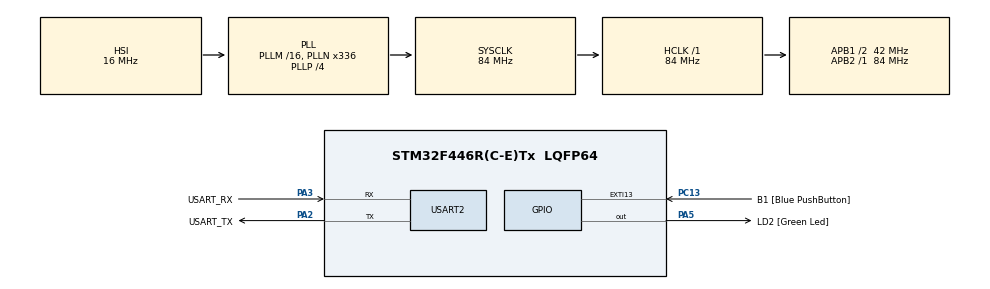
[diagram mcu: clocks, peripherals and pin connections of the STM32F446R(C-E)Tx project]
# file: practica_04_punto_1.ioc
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Mcu.Family=STM32F4
Mcu.Name=STM32F446R(C-E)Tx
Mcu.Package=LQFP64
NVIC.PriorityGroup=NVIC_PRIORITYGROUP_0
PA13.GPIO_Label=TMS
PA13.Mode=Serial_Wire
PA13.Signal=SYS_JTMS-SWDIO
PA14.GPIO_Label=TCK
PA14.Mode=Serial_Wire
PA14.Signal=SYS_JTCK-SWCLK
PA2.GPIO_Label=USART_TX
PA2.Mode=Asynchronous
PA2.Signal=USART2_TX
PA3.GPIO_Label=USART_RX
PA3.Mode=Asynchronous
PA3.Signal=USART2_RX
PA5.GPIO_Label=LD2 [Green Led]
PA5.Signal=GPIO_Output
PB3.GPIO_Label=SWO
PB3.Signal=SYS_JTDO-SWO
PC13.GPIO_Label=B1 [Blue PushButton]
PC13.GPIO_ModeDefaultEXTI=GPIO_MODE_IT_FALLING
PC13.Signal=GPXTI13
PC14-OSC32_IN.Mode=LSE-External-Oscillator
PC14-OSC32_IN.Signal=RCC_OSC32_IN
PC15-OSC32_OUT.Mode=LSE-External-Oscillator
PC15-OSC32_OUT.Signal=RCC_OSC32_OUT
PH0-OSC_IN.Mode=HSE-External-Oscillator
PH0-OSC_IN.Signal=RCC_OSC_IN
PH1-OSC_OUT.Mode=HSE-External-Oscillator
PH1-OSC_OUT.Signal=RCC_OSC_OUT
ProjectManager.HeapSize=0x200
ProjectManager.StackSize=0x400
ProjectManager.TargetToolchain=STM32CubeIDE
RCC.48MHZClocksFreq_Value=84000000
RCC.AHBFreq_Value=84000000
RCC.APB1CLKDivider=RCC_HCLK_DIV2
RCC.APB1Freq_Value=42000000
RCC.APB1TimFreq_Value=84000000
RCC.APB2Freq_Value=84000000
RCC.APB2TimFreq_Value=84000000
RCC.CortexFreq_Value=84000000
RCC.FLatency-AdvancedSettings=FLASH_LATENCY_2
RCC.HCLKFreq_Value=84000000
RCC.HSE_VALUE=8000000
RCC.HSI_VALUE=16000000
RCC.PLLN=336
RCC.PLLP=RCC_PLLP_DIV4
RCC.SYSCLKFreq_VALUE=84000000
RCC.SYSCLKSource=RCC_SYSCLKSOURCE_PLLCLK
RCC.USBFreq_Value=168000000
RCC.VCOOutputFreq_Value=336000000
USART2.VirtualMode=VM_ASYNC
board=NUCLEO-F446RE

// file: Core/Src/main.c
/* USER CODE BEGIN Header */
/**
  ******************************************************************************
  * @file           : main.c
  * @brief          : Main program body
  ******************************************************************************
  * @attention
  *
  * Copyright (c) 2025 STMicroelectronics.
  * All rights reserved.
  *
  * This software is licensed under terms that can be found in the LICENSE file
  * in the root directory of this software component.
  * If no LICENSE file comes with this software, it is provided AS-IS.
  *
  ******************************************************************************
  */
/* USER CODE END Header */
#include "main.h"
#include "API_delay.h"

/* USER CODE BEGIN PD */
#define MEDIOSEG		500
#define CIENMILISEG		100
#define CUARENTAMILISEG	40
#define UNSEG			1000
#define INICIO			0
#define PRIMERO			1
#define SEGUNDO			2
#define TERCERO			3
#define CINCOSEG		5000
#define TRESSEG			3000
#define CICLO			10
#define DEBOUNCETIME	4

/* USER CODE END PD */

UART_HandleTypeDef huart2;

void SystemClock_Config(void);
static void MX_GPIO_Init(void);
static void MX_USART2_UART_Init(void);

/* USER CODE BEGIN PFP */
void debounceFSM_init();		// debe cargar el estado inicial
void debounceFSM_update();		// debe leer las entradas, resolver la lógica de transición de estados y actualizar las salidas
void buttonPressed();			// debe encender el LED
void buttonReleased();			// debe apagar el LED

typedef enum{
 BUTTON_UP,
 BUTTON_FALLING,
 BUTTON_DOWN,
 BUTTON_RAISING,
 } debounceState_t;

 debounceState_t myEstado_t;

 entero32 K =INICIO;

 const tick_t TIEMPOS[] = {MEDIOSEG,CIENMILISEG,CIENMILISEG,UNSEG,CUARENTAMILISEG};

delay_t myDelay;

/* USER CODE END PFP */

int main(void)
{

  /* MCU Configuration--------------------------------------------------------*/

  /* Reset of all peripherals, Initializes the Flash interface and the Systick. */
  HAL_Init();

  /* Configure the system clock */
  SystemClock_Config();

  /* Initialize all configured peripherals */
  MX_GPIO_Init();
  MX_USART2_UART_Init();

  /* Infinite loop */

  myDelay.startTime=INICIO;
  myDelay.duration=CIENMILISEG;
  myDelay.running=false;

  delayInit(&myDelay, TIEMPOS[DEBOUNCETIME]);

//*****************************************************************************************************************
//*************     PUNTO 1 de la Practica 4		*******************************************************************

  HAL_GPIO_WritePin(LD2_GPIO_Port, LD2_Pin, SET);
  HAL_Delay(TRESSEG);

  //INICIALIZAMOS EL ESTADO

  //debounceFSM_init();

  //CREAMOS UNA SECUENCIA DE PULSACIONES RAPIDAS PARA INDICAR QUE SE INICIALIZO

  HAL_GPIO_WritePin(LD2_GPIO_Port, LD2_Pin, RESET);
  HAL_Delay(CIENMILISEG);
  HAL_GPIO_WritePin(LD2_GPIO_Port, LD2_Pin, SET);
  HAL_Delay(CIENMILISEG);
  HAL_GPIO_WritePin(LD2_GPIO_Port, LD2_Pin, RESET);
  HAL_Delay(CIENMILISEG);
  HAL_GPIO_WritePin(LD2_GPIO_Port, LD2_Pin, SET);
  HAL_Delay(CIENMILISEG);
  HAL_GPIO_WritePin(LD2_GPIO_Port, LD2_Pin, RESET);
  HAL_Delay(CIENMILISEG);
  HAL_GPIO_WritePin(LD2_GPIO_Port, LD2_Pin, SET);
  HAL_Delay(CIENMILISEG);
  HAL_GPIO_WritePin(LD2_GPIO_Port, LD2_Pin, RESET);
  HAL_Delay(CIENMILISEG);
  HAL_GPIO_WritePin(LD2_GPIO_Port, LD2_Pin, SET);
  HAL_Delay(CIENMILISEG);
  HAL_GPIO_WritePin(LD2_GPIO_Port, LD2_Pin, RESET);
  HAL_Delay(CIENMILISEG);
  HAL_GPIO_WritePin(LD2_GPIO_Port, LD2_Pin, SET);
  HAL_Delay(CIENMILISEG);

  debounceFSM_init();

  while(1){

	  debounceFSM_update();

// Fin del ciclo while
  }

}

/* USER CODE BEGIN 3 */
void debounceFSM_init(){
	// debe cargar el estado inicial y hacer RESET en el LD2

	myEstado_t = BUTTON_UP;
	buttonReleased();

}

void debounceFSM_update(){
	//debe leer las entradas, resolver la lógica de
	// transición de estados y actualizar las salidas

	  switch (myEstado_t){

		  case BUTTON_UP:

			  //asigna el estado Button_up y asigna los estados siguientes dependiendo de la transicion
			  buttonReleased();

			  if (HAL_GPIO_ReadPin(B1_GPIO_Port, B1_Pin)){

				  myEstado_t = BUTTON_UP;
			  }
			  if (!HAL_GPIO_ReadPin(B1_GPIO_Port, B1_Pin)){

				  myEstado_t = BUTTON_FALLING;
			  }

			  break;

		  case BUTTON_FALLING:

			  	  //aplica el tiempo para realizar el debounce y verificar que
			  	  //efectivamente se presiono el boton azul

		  		  if(delayRead(&myDelay)){

		  			if (!HAL_GPIO_ReadPin(B1_GPIO_Port, B1_Pin)){

		  				myEstado_t = BUTTON_DOWN;
		  			}

		  		  }

		  		  break;

		  case BUTTON_DOWN:
			  	  //modifica la salida de acuerdo a la liberacion del boton azul y asigno el nuevo estado
			  	  	  buttonPressed();

			  	  	  if (HAL_GPIO_ReadPin(B1_GPIO_Port, B1_Pin)){

			  	  		  myEstado_t = BUTTON_RAISING;

			  	  	  }

			  	  	  if (!HAL_GPIO_ReadPin(B1_GPIO_Port, B1_Pin)){

			  	  		  myEstado_t = BUTTON_DOWN;
			  	  				  }

		  	  		  break;

		  case BUTTON_RAISING:
			  //aplica el tiempo para realizar el debounce y verificar que
			  //efectivamente se libero el boton azul

			  	  	  if(delayRead(&myDelay)){

			  		  	if (HAL_GPIO_ReadPin(B1_GPIO_Port, B1_Pin)){

			  		  		myEstado_t = BUTTON_UP;
			  		  	}

			  		  }

		  	  	  		  break;
	//Fin del case
		  }

}

void buttonPressed(){
	// debe encender el LED
	HAL_GPIO_WritePin(LD2_GPIO_Port, LD2_Pin, SET);

}
void buttonReleased(){
	// debe apagar el LED
	HAL_GPIO_WritePin(LD2_GPIO_Port, LD2_Pin, RESET);

}

 /* USER CODE END 3 */

void SystemClock_Config(void)
{
  RCC_OscInitTypeDef RCC_OscInitStruct = {0};
  RCC_ClkInitTypeDef RCC_ClkInitStruct = {0};

  /** Configure the main internal regulator output voltage
  */
  __HAL_RCC_PWR_CLK_ENABLE();
  __HAL_PWR_VOLTAGESCALING_CONFIG(PWR_REGULATOR_VOLTAGE_SCALE3);

  /** Initializes the RCC Oscillators according to the specified parameters
  * in the RCC_OscInitTypeDef structure.
  */
  RCC_OscInitStruct.OscillatorType = RCC_OSCILLATORTYPE_HSI;
  RCC_OscInitStruct.HSIState = RCC_HSI_ON;
  RCC_OscInitStruct.HSICalibrationValue = RCC_HSICALIBRATION_DEFAULT;
  RCC_OscInitStruct.PLL.PLLState = RCC_PLL_ON;
  RCC_OscInitStruct.PLL.PLLSource = RCC_PLLSOURCE_HSI;
  RCC_OscInitStruct.PLL.PLLM = 16;
  RCC_OscInitStruct.PLL.PLLN = 336;
  RCC_OscInitStruct.PLL.PLLP = RCC_PLLP_DIV4;
  RCC_OscInitStruct.PLL.PLLQ = 2;
  RCC_OscInitStruct.PLL.PLLR = 2;
  if (HAL_RCC_OscConfig(&RCC_OscInitStruct) != HAL_OK)
  {
    Error_Handler();
  }

  /** Initializes the CPU, AHB and APB buses clocks
  */
  RCC_ClkInitStruct.ClockType = RCC_CLOCKTYPE_HCLK|RCC_CLOCKTYPE_SYSCLK
                              |RCC_CLOCKTYPE_PCLK1|RCC_CLOCKTYPE_PCLK2;
  RCC_ClkInitStruct.SYSCLKSource = RCC_SYSCLKSOURCE_PLLCLK;
  RCC_ClkInitStruct.AHBCLKDivider = RCC_SYSCLK_DIV1;
  RCC_ClkInitStruct.APB1CLKDivider = RCC_HCLK_DIV2;
  RCC_ClkInitStruct.APB2CLKDivider = RCC_HCLK_DIV1;

  if (HAL_RCC_ClockConfig(&RCC_ClkInitStruct, FLASH_LATENCY_2) != HAL_OK)
  {
    Error_Handler();
  }
}

static void MX_USART2_UART_Init(void)
{

  huart2.Instance = USART2;
  huart2.Init.BaudRate = 115200;
  huart2.Init.WordLength = UART_WORDLENGTH_8B;
  huart2.Init.StopBits = UART_STOPBITS_1;
  huart2.Init.Parity = UART_PARITY_NONE;
  huart2.Init.Mode = UART_MODE_TX_RX;
  huart2.Init.HwFlowCtl = UART_HWCONTROL_NONE;
  huart2.Init.OverSampling = UART_OVERSAMPLING_16;
  if (HAL_UART_Init(&huart2) != HAL_OK)
  {
    Error_Handler();
  }

}

static void MX_GPIO_Init(void)
{
  GPIO_InitTypeDef GPIO_InitStruct = {0};

  /* GPIO Ports Clock Enable */
  __HAL_RCC_GPIOC_CLK_ENABLE();
  __HAL_RCC_GPIOH_CLK_ENABLE();
  __HAL_RCC_GPIOA_CLK_ENABLE();
  __HAL_RCC_GPIOB_CLK_ENABLE();

  /*Configure GPIO pin Output Level */
  HAL_GPIO_WritePin(LD2_GPIO_Port, LD2_Pin, GPIO_PIN_RESET);

  /*Configure GPIO pin : B1_Pin */
  GPIO_InitStruct.Pin = B1_Pin;
  GPIO_InitStruct.Mode = GPIO_MODE_IT_FALLING;
  GPIO_InitStruct.Pull = GPIO_NOPULL;
  HAL_GPIO_Init(B1_GPIO_Port, &GPIO_InitStruct);

  /*Configure GPIO pin : LD2_Pin */
  GPIO_InitStruct.Pin = LD2_Pin;
  GPIO_InitStruct.Mode = GPIO_MODE_OUTPUT_PP;
  GPIO_InitStruct.Pull = GPIO_NOPULL;
  GPIO_InitStruct.Speed = GPIO_SPEED_FREQ_LOW;
  HAL_GPIO_Init(LD2_GPIO_Port, &GPIO_InitStruct);

}

void Error_Handler(void)
{
  __disable_irq();
  while (1)
  {
  }
}
